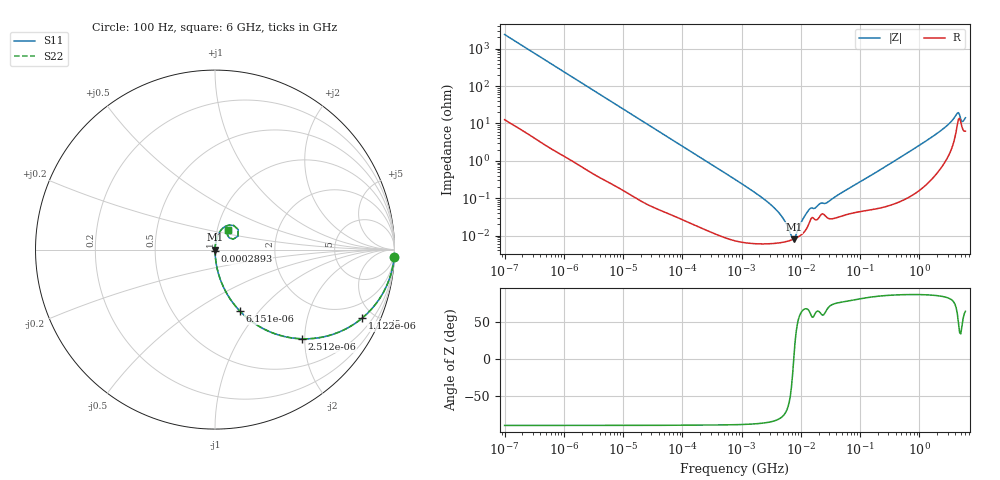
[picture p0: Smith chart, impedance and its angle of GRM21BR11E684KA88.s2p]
!Murata Part Number: GRM21BR11E684KA88
!These Parameters are Measured in Series Mode Connection
!Data Generated on Mar 30, 2021
!  o--ll--o
!Port1  Port2
!  o------o
!Operation Temp=25[degC], DC Bias Voltage=0[V]
!Freq. Start=100[Hz] Stop=6[GHz] 401[Steps]
# Hz S RI R 50
!Freq.(Hz) S11(Real) S11(Imag) S21(Real) S21(Imag) S12(Real) S12(Imag) S22(Real) S22(Imag)
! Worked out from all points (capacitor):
!   401 points, 100 Hz to 6 GHz, reference 50 ohm
!   read as one part in series: C = 662 nF near 109 Hz
!   lowest |Z| = 8.02 mohm at 7.6 MHz (marker M1)
!   series resonance near 7.598 MHz, so ESL is about 660 pH
!   S11 on the Smith chart (normalised r, x): 100 Hz: 1, -48; 1.122 kHz: 1.02, -4.31; 2.512 kHz: 1.01, -1.93; 6.151 kHz: 1.00, -0.79; 289.3 kHz: 1.00, -0.02; 6 GHz: 1.12, +0.25
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100  0.998 -0.0416  0.00195 0.0416  0.00195 0.0416  0.998 -0.0416
479  0.9611 -0.1908  0.0389 0.1908  0.0389 0.1908  0.9611 -0.1908
1122  0.8215 -0.3802  0.1785 0.3802  0.1785 0.3802  0.8215 -0.3802
2008  0.5924 -0.4886  0.4076 0.4886  0.4076 0.4886  0.5924 -0.4886
2512  0.4826 -0.4969  0.5174 0.4969  0.5174 0.4969  0.4826 -0.4969
6151  0.1369 -0.3406  0.8631 0.3406  0.8631 0.3406  0.1369 -0.3406
40335  0.00416 -0.0605  0.9958 0.0605  0.9958 0.0605  0.00416 -0.0605
289253  0.0002 -0.00856  0.9998 0.00856  0.9998 0.00856  0.0002 -0.00856
774597  8.25e-05 -0.00319  0.9999 0.00319  0.9999 0.00319  8.25e-05 -0.00319
3549919  6.18e-05 -0.000552  0.9999 0.000552  0.9999 0.000552  6.18e-05 -0.000552
4856642  6.57e-05 -0.000306  0.9999 0.000306  0.9999 0.000306  6.57e-05 -0.000306
6644369  7.42e-05 -8.96e-05  0.9999 8.96e-05  0.9999 8.96e-05  7.42e-05 -8.96e-05
7599586  8.02e-05 1e-07  0.9999 -1e-07  0.9999 -1e-07  8.02e-05 1e-07
8692127  8.89e-05 9.11e-05  0.9999 -9.11e-05  0.9999 -9.11e-05  8.89e-05 9.11e-05
1.243624e7  0.000151 0.000363  0.9998 -0.000363  0.9998 -0.000363  0.000151 0.000363
1.555665e7  0.000305 0.000452  0.9997 -0.000452  0.9997 -0.000452  0.000305 0.000452
2.784235e7  0.000301 0.000704  0.9997 -0.000704  0.9997 -0.000704  0.000301 0.000704
3.124326e8  0.0007 0.00811  0.9993 -0.00811  0.9993 -0.00811  0.0007 0.00811
2.048624e9  0.00793 0.0548  0.9921 -0.0548  0.9921 -0.0548  0.00793 0.0548
4.193612e9  0.0784 0.1367  0.9216 -0.1367  0.9216 -0.1367  0.0784 0.1367
5.245841e9  0.0796 0.0655  0.9204 -0.0655  0.9204 -0.0655  0.0796 0.0655
6e9  0.072 0.1112  0.928 -0.1112  0.928 -0.1112  0.072 0.1112
